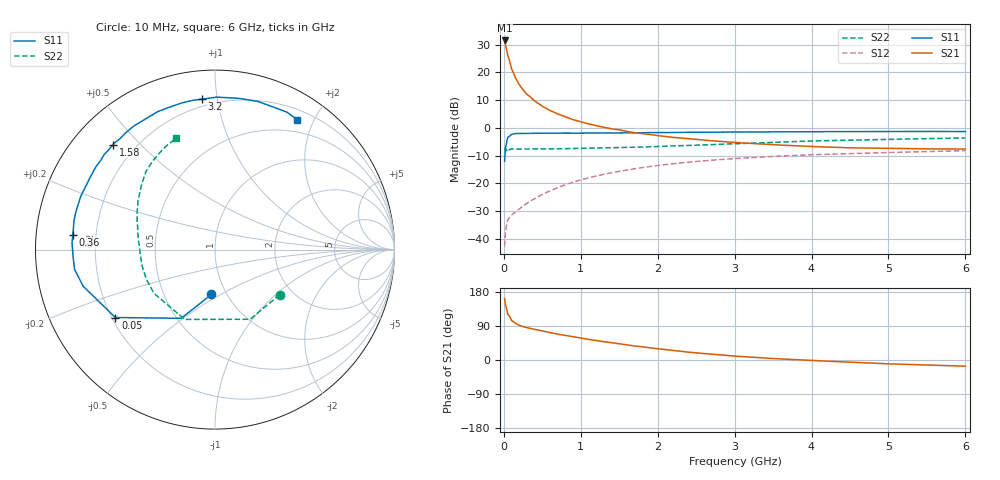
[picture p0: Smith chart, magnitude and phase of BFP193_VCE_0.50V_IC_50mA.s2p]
! Infineon Technologies  Discrete & RF Semiconductors
! BFP193
! VCE = 0.50V,  IC =  50 mA
! Common Emitter S-Parameters:  Jan 2016
# GHz  S  MA  R  50
!  f  S11  S21  S12  S22
! GHz  MAG  ANG  MAG  ANG  MAG  ANG  MAG  ANG
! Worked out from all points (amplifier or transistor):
!   210 points, 10 MHz to 6 GHz, reference 50 ohm
!   highest |S21| = 31.5 dB at 10 MHz (marker M1)
!   |S21| within 3 dB of that: start of sweep to 33.85 MHz
!   unconditionally stable (mu >= 1): start of sweep to 16.12 MHz; 197.8 MHz to end of sweep
!   at 185 MHz: K = 0.96, MSG = 22.9 dB, |S12| = -29.5 dB
!   at 1.52 GHz: K = 1.29, MAG = 4.1 dB, |S12| = -15.5 dB
!   at 6 GHz: K = 1.10, MAG = -1.7 dB, |S12| = -8.2 dB
!   S11 on the Smith chart (normalised r, x): 10 MHz: 0.85, -0.45; 50 MHz: 0.21, -0.30; 360 MHz: 0.11, +0.05; 1.58 GHz: 0.12, +0.42; 3.2 GHz: 0.16, +0.91; 6 GHz: 0.32, +1.77
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0.01  0.2508 -94.5  37.49 161.9  0.0074 65.2  0.4392 -34.8
0.02  0.4265 -116.2  32.76 146.5  0.0132 58.5  0.4349 -63.2
0.05  0.6715 -145.7  20.62 120.9  0.0219 43.6  0.4239 -113.4
0.1  0.7622 -164.4  11.6 104.2  0.0268 40.8  0.4183 -144.3
0.15  0.79 -172.0  7.944 96.6  0.0307 43.6  0.4163 -156.3
0.2  0.7913 -176.7  6.006 91.6  0.0346 47.7  0.4151 -162.9
0.24  0.793 -179.7  5.039 88.9  0.0382 49.8  0.4156 -166.5
0.26  0.7944 179.1  4.645 87.6  0.04 50.9  0.4158 -167.9
0.3  0.7975 177.3  4.032 85.4  0.0437 53.1  0.4154 -170.1
0.36  0.7963 174.1  3.439 82.8  0.0493 55.6  0.4155 -172.6
0.4  0.7969 171.9  3.049 80.6  0.0531 56.9  0.416 -174.2
0.5  0.8018 168.7  2.448 76.5  0.063 58.8  0.4177 -177.1
0.6  0.8032 164.7  2.059 72.2  0.0734 60.1  0.4187 -179.3
0.8  0.8047 158.3  1.57 64.9  0.0947 59.7  0.422 177.2
1.02  0.8035 150.8  1.26 57.2  0.1172 58.4  0.4283 173.7
1.58  0.8154 134.2  0.872 40.4  0.1725 51.2  0.4441 166.0
2.02  0.8235 122.3  0.721 29.4  0.2117 44.5  0.4628 159.7
3.1  0.8407 96.7  0.536 9.0  0.285 28.0  0.5223 143.6
3.2  0.8416 94.9  0.526 7.8  0.2901 26.6  0.5282 142.2
4.1  0.8534 79.5  0.456 -2.2  0.3314 14.4  0.5846 130.2
5.1  0.8588 66.8  0.425 -10.7  0.3624 3.1  0.6243 118.8
6  0.8568 57.7  0.416 -16.4  0.3881 -6.7  0.6564 109.2
